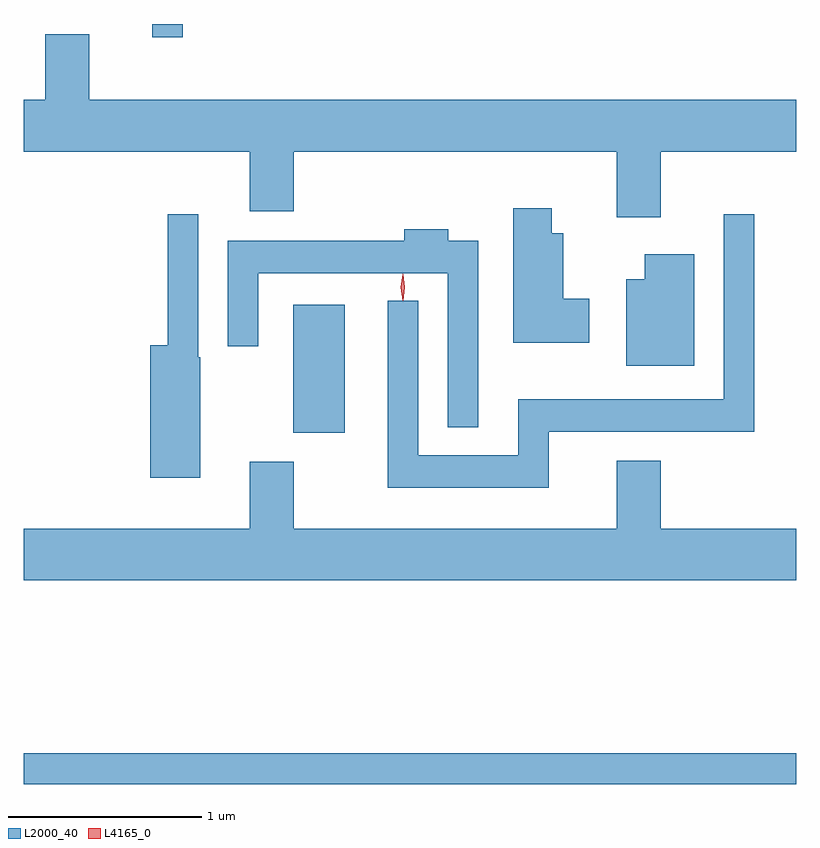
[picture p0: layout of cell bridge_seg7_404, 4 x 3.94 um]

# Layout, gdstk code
import gdstk
lib = gdstk.Library(unit=1e-6, precision=1e-09)
def R(c, l, rs):  # rectangles x0, y0, x1, y1
    for r in rs: c.add(gdstk.rectangle(r[:2], r[2:], *l))
def P(c, l, *ps):  # polygons
    for p in ps: c.add(gdstk.Polygon(p, *l))
L2000_40 = (2000, 40)
L4165_0 = (4165, 0)

bridge_seg7_404 = lib.new_cell('bridge_seg7_404')
R(bridge_seg7_404, L2000_40, [(1083.001,1691.061,1087.001,1691.219), (1084.396,1692.881,1084.664,1693.544), (1083.666,1694.928,1083.824,1694.997)])
P(bridge_seg7_404, L2000_40, [(1086.299,1694.336),(1087.001,1694.336),(1087.001,1694.604),(1083.339,1694.604),(1083.339,1694.944),(1083.111,1694.944),(1083.111,1694.604),(1083.001,1694.604),(1083.001,1694.336),(1084.171,1694.336),(1084.171,1694.026),(1084.399,1694.026),(1084.399,1694.336),(1086.071,1694.336),(1086.071,1693.996),(1086.299,1693.996)],
  [(1085.929,1693.574),(1085.794,1693.574),(1085.794,1693.914),(1085.734,1693.914),(1085.734,1694.044),(1085.536,1694.044),(1085.536,1693.346),(1085.929,1693.346)],
  [(1083.914,1693.27),(1083.904,1693.27),(1083.904,1694.013),(1083.746,1694.013),(1083.746,1693.334),(1083.656,1693.334),(1083.656,1692.646),(1083.914,1692.646)],
  [(1085.719,1692.886),(1086.784,1692.886),(1086.784,1694.013),(1086.626,1694.013),(1086.626,1693.054),(1085.561,1693.054),(1085.561,1692.764),(1085.044,1692.764),(1085.044,1693.563),(1084.886,1693.563),(1084.886,1692.596),(1085.719,1692.596)],
  [(1085.354,1693.874),(1085.199,1693.874),(1085.199,1693.934),(1084.971,1693.934),(1084.971,1693.874),(1084.056,1693.874),(1084.056,1693.328),(1084.214,1693.328),(1084.214,1693.706),(1085.196,1693.706),(1085.196,1692.908),(1085.354,1692.908)],
  [(1086.474,1693.804),(1086.216,1693.804),(1086.216,1693.674),(1086.121,1693.674),(1086.121,1693.226),(1086.474,1693.226)],
  [(1087.001,1692.384),(1086.299,1692.384),(1086.299,1692.734),(1086.071,1692.734),(1086.071,1692.384),(1084.399,1692.384),(1084.399,1692.729),(1084.171,1692.729),(1084.171,1692.384),(1083.001,1692.384),(1083.001,1692.116),(1087.001,1692.116)])
P(bridge_seg7_404, L4165_0, [(1084.964,1693.564),(1084.964,1693.564),(1084.954,1693.634),(1084.964,1693.702),(1084.964,1693.703),(1084.965,1693.702),(1084.974,1693.634),(1084.965,1693.564)])

lib.write_gds('bridge_seg7_404.gds')
